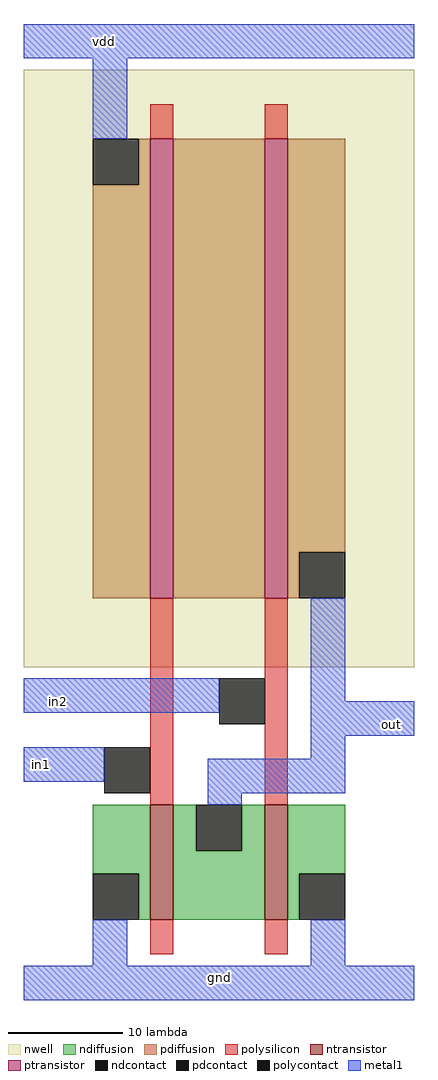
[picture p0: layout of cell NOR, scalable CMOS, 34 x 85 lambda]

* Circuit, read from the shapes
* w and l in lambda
.subckt NOR gnd in1 in2 out vdd
M1 out in1 gnd VSUBS nfet w=10 l=2
M2 gnd in2 out VSUBS nfet w=10 l=2
M3 n1 in1 vdd n2 pfet w=40 l=2
M4 out in2 n1 n2 pfet w=40 l=2
.ends

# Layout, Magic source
magic
tech scmos
<< nwell >>
rect -24 34 10 86
<< ntransistor >>
rect -13 12 -11 22
rect -3 12 -1 22
<< ptransistor >>
rect -13 40 -11 80
rect -3 40 -1 80
<< ndiffusion >>
rect -18 16 -13 22
rect -14 12 -13 16
rect -11 18 -9 22
rect -5 18 -3 22
rect -11 12 -3 18
rect -1 16 4 22
rect -1 12 0 16
<< pdiffusion >>
rect -14 76 -13 80
rect -18 40 -13 76
rect -11 40 -3 80
rect -1 44 4 80
rect -1 40 0 44
<< ndcontact >>
rect -18 12 -14 16
rect -9 18 -5 22
rect 0 12 4 16
<< pdcontact >>
rect -18 76 -14 80
rect 0 40 4 44
<< polysilicon >>
rect -13 80 -11 83
rect -3 80 -1 83
rect -13 22 -11 40
rect -3 22 -1 40
rect -13 9 -11 12
rect -3 9 -1 12
<< polycontact >>
rect -17 23 -13 27
rect -7 29 -3 33
<< metal1 >>
rect -24 87 10 90
rect -18 80 -15 87
rect -24 30 -7 33
rect 1 31 4 40
rect 1 28 10 31
rect -24 24 -17 27
rect 1 26 4 28
rect -8 23 4 26
rect -8 22 -5 23
rect -18 8 -15 12
rect 1 8 4 12
rect -24 5 10 8
<< labels >>
rlabel metal1 -17 88 -17 89 5 vdd
rlabel metal1 -7 7 -7 7 1 gnd
rlabel metal1 -23 25 -22 26 3 in1
rlabel metal1 -21 31 -21 31 3 in2
rlabel metal1 8 29 8 29 7 out
<< end >>
